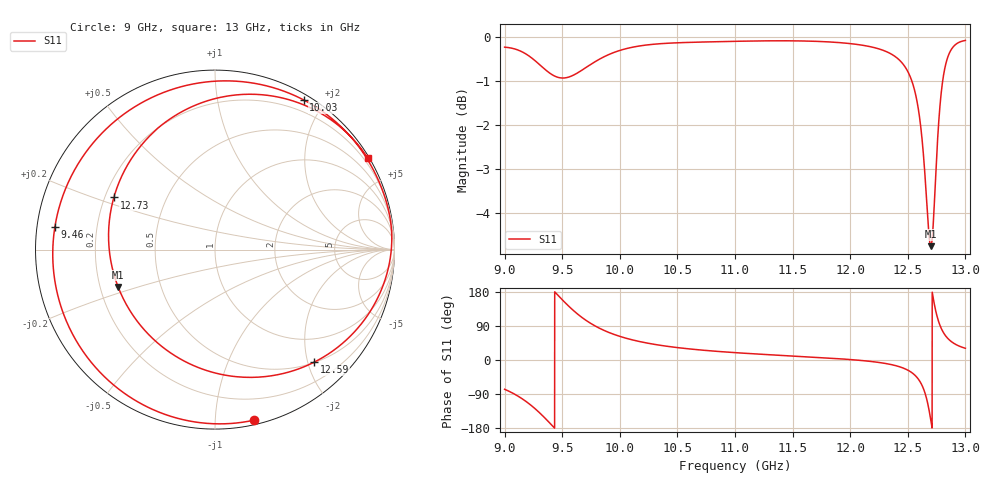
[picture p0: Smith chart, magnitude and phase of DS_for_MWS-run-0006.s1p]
! TOUCHSTONE file generated by CST DESIGN STUDIO
! Date and time: Tue Feb  4 16:48:24 2025
! Project name: C:\Work\MatlabApps\UnitCellOptimizationMatlab\CST\unitcell.cst
! Tree item: Tasks\Sweep1\SPara1\S-Parameters
! Header version: 2024
! Port assignment regex: !\s*Touchstone port\s*([0-9]+)\s*=\s*(CST MWS port|CST DES external port|CST DES block port)\s*(.+)\s* \(\"(.*)\"\)(\s*mode\s*([0-9]+))?.*
! Touchstone port assignment:
! Touchstone port 1 = CST DES external port 1 ("")
# GHz S MA R 50
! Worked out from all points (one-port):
!   4001 points, 9 GHz to 13 GHz, reference 50 ohm
!   lowest |S11| = -4.8 dB at 12.7 GHz (marker M1), VSWR 3.75, Z = 13.8 - j8.6 ohm
!   |S11| at or under -10 dB: nowhere
!   S11 on the Smith chart (normalised r, x): 9 GHz: 0.03, -1.25; 9.46 GHz: 0.05, +0.07; 10.03 GHz: 0.06, +1.75; 12.59 GHz: 0.51, -2.11; 12.73 GHz: 0.24, +0.23; 13 GHz: 0.06, +3.62
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9  0.9749 -77.2
9.134  0.9654 -98.7
9.237  0.9472 -121.4
9.36  0.9175 -156.2
9.46  0.9009 171.8
9.5  0.8991 159.1
9.601  0.9064 129.6
9.703  0.9236 105.4
9.849  0.9486 80.1
10  0.9665 62.4
10.032  0.9693 59.4
10.5  0.9861 32.7
11  0.9899 19.4
11.5  0.9912 10.5
12  0.984 1.2
12.31  0.9641 -9.4
12.5  0.9146 -26.8
12.587  0.8359 -48.6
12.621  0.7724 -65.3
12.654  0.6818 -91.8
12.677  0.6127 -120.4
12.7  0.5785 -159.0
12.727  0.6341 152.7
12.76  0.7703 108.9
12.795  0.8761 80.5
12.832  0.9353 62.3
12.874  0.9672 49.5
13  0.9922 30.9
